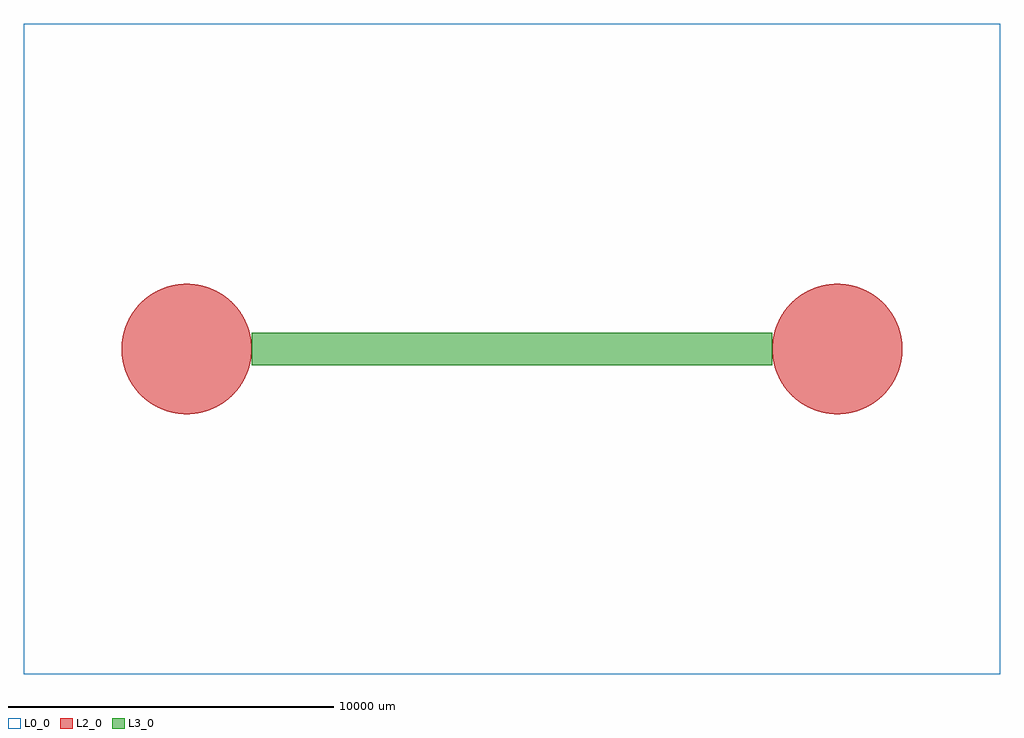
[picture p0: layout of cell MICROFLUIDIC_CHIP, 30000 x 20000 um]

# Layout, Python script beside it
import gdspy

# Define the library and cell for the GDS layout
lib = gdspy.GdsLibrary()
cell = lib.new_cell('MICROFLUIDIC_CHIP')

# Define the dimensions of the bulk of the chip
chip_width = 30e3  # 30 mm in micrometers
chip_height = 20e3  # 20 mm in micrometers

# Create the bulk of the chip on layer 0
bulk_rectangle = gdspy.Rectangle((0, 0), (chip_width, chip_height), layer=0)
cell.add(bulk_rectangle)

# Define the positions and radius for the circular vias on layer 2
via_radius = 2e3  # 2 mm in micrometers
via_spacing = 20e3  # 20 mm in micrometers

# Center coordinates of the vias
via_center1 = (chip_width / 2 - via_spacing / 2, chip_height / 2)
via_center2 = (chip_width / 2 + via_spacing / 2, chip_height / 2)

# Create the circular vias on layer 2
via1 = gdspy.Round(via_center1, via_radius, layer=2)
via2 = gdspy.Round(via_center2, via_radius, layer=2)
cell.add(via1)
cell.add(via2)

# Define the channel that connects the vias on layer 3
channel_width = 1e3  # 1 mm in micrometers

# Channel coordinates
channel_x1 = via_center1[0] + via_radius
channel_x2 = via_center2[0] - via_radius
channel_y1 = via_center1[1] - channel_width / 2
channel_y2 = via_center1[1] + channel_width / 2

# Create the channel on layer 3
channel_rectangle = gdspy.Rectangle((channel_x1, channel_y1), (channel_x2, channel_y2), layer=3)
cell.add(channel_rectangle)

# Save the design to a GDS file
lib.write_gds('microfluidic_chip.gds')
